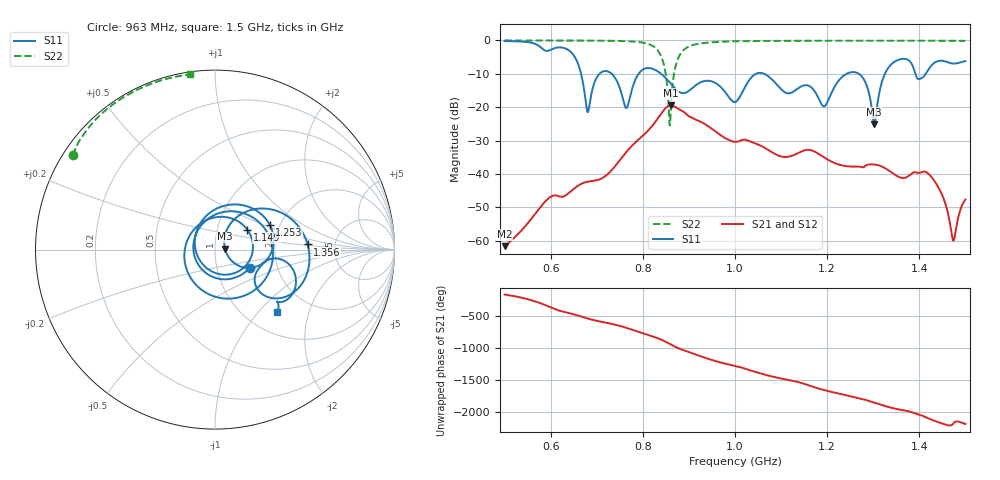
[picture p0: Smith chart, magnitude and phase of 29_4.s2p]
! TOUCHSTONE file generated by CST MICROWAVE STUDIO
! Date and time: Sat Nov 14 20:02:20 2020
! Project name: Scenario_1_Planar_Body_Tissue_Out_of_Line.cst
! Parameters = {dy1=-138.4; L_HA=400; Ltissue=700; MT=2.54; Rad_Dielectric=30; Rad_Lower=7.3; Rad_Upper=30; Wtissue=700; a_HA=580; a_WG=246; b_HA=500; b_WG=121; c_HA=0; c_WG=187; d_feed=85; dx1=693; h_feed=15; h_lower=18; h_upper=40; hfat=3; hgap=25; hmuscle=50; hskin=1.5}
! Header version: 2018
! Port assignment regex: !\s*Touchstone port\s*([0-9]+)\s*=\s*(CST MWS port|CST DS port)\s*([0-9]+|Zmin|Zmax)\s*\(\"(.*)\"\)(\s*mode\s*([0-9]+))?.*
! Touchstone port assignment:
! Touchstone port 1 = CST MWS port 1 ("")
! Touchstone port 2 = CST MWS port 2 ("")
# GHz S DB R 50
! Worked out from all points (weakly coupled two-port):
!   1003 points, 500 MHz to 1.5 GHz, reference 50 ohm
!   highest |S21| = -19.48 dB at 861 MHz (marker M1); lowest = -61.6 dB at 500 MHz (marker M2)
!   lowest |S11| = -25.1 dB at 1.302 GHz (marker M3), VSWR 1.12, Z = 55.9 + j0.637 ohm
!   |S11| at or under -10 dB: 732.4 MHz to 790.8 MHz (58.31 MHz wide, 7.66 % of centre); 839.7 MHz to 1.045 GHz (205.8 MHz wide, 21.8 % of centre); 1.063 GHz to 1.242 GHz (178.7 MHz wide, 15.5 % of centre)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
!   |S22| runs from -25.4 to 0.0 dB; largest |S21 - S12| = 4.9e-05
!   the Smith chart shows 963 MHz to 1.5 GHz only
!   S11 on the Smith chart (normalised r, x): 963 MHz: 1.44, -0.31; 1.149 GHz: 1.40, +0.32; 1.253 GHz: 1.77, +0.55; 1.356 GHz: 3.12, +0.25; 1.5 GHz: 1.38, -1.26
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0.5  -0.20 -121.6  -61.61 -173.1  -61.61 -173.1  -0.01 151.1
0.621  -2.09 174.0  -46.79 -68.1  -46.79 -68.1  -0.02 142.5
0.667  -10.63 103.2  -42.91 -156.6  -42.91 -156.6  -0.04 138.4
0.68  -21.46 140.3  -42.31 175.4  -42.31 175.4  -0.05 137.1
0.718  -9.16 145.5  -40.68 112.7  -40.68 112.7  -0.09 132.6
0.764  -20.25 -28.4  -33.43 30.7  -33.43 30.7  -0.23 124.6
0.798  -8.92 161.9  -28.80 -48.0  -28.80 -48.0  -0.62 113.7
0.834  -9.42 60.9  -23.07 -134.8  -23.07 -134.8  -3.31 84.5
0.861  -12.98 -22.0  -19.48 129.5  -19.48 129.5  -19.77 -112.3
0.884  -15.74 -109.4  -21.05 53.1  -21.05 53.1  -3.54 -176.4
0.926  -12.50 86.0  -24.39 -52.6  -24.39 -52.6  -0.89 155.6
0.963  -13.23 -27.8  -27.80 -136.9  -27.80 -136.9  -0.45 146.4
1  -18.45 -173.1  -30.36 159.3  -30.36 159.3  -0.26 140.2
1.149  -13.49 31.3  -33.00 -116.6  -33.00 -116.6  -0.10 125.7
1.167  -14.24 -26.7  -32.96 -159.7  -32.96 -159.7  -0.09 124.2
1.253  -9.50 24.5  -37.77 43.8  -37.77 43.8  -0.09 117.7
1.302  -25.09 5.9  -37.15 -50.4  -37.15 -50.4  -0.08 113.9
1.334  -7.97 33.2  -38.97 -120.5  -38.97 -120.5  -0.09 111.5
1.356  -5.74 3.2  -40.91 -157.0  -40.91 -157.0  -0.09 109.9
1.424  -7.90 -9.9  -40.52 52.0  -40.51 52.0  -0.10 104.4
1.474  -6.94 -40.0  -59.98 -13.3  -59.98 -13.3  -0.12 100.3
1.5  -6.20 -45.3  -47.62 -23.2  -47.62 -23.2  -0.13 98.0
